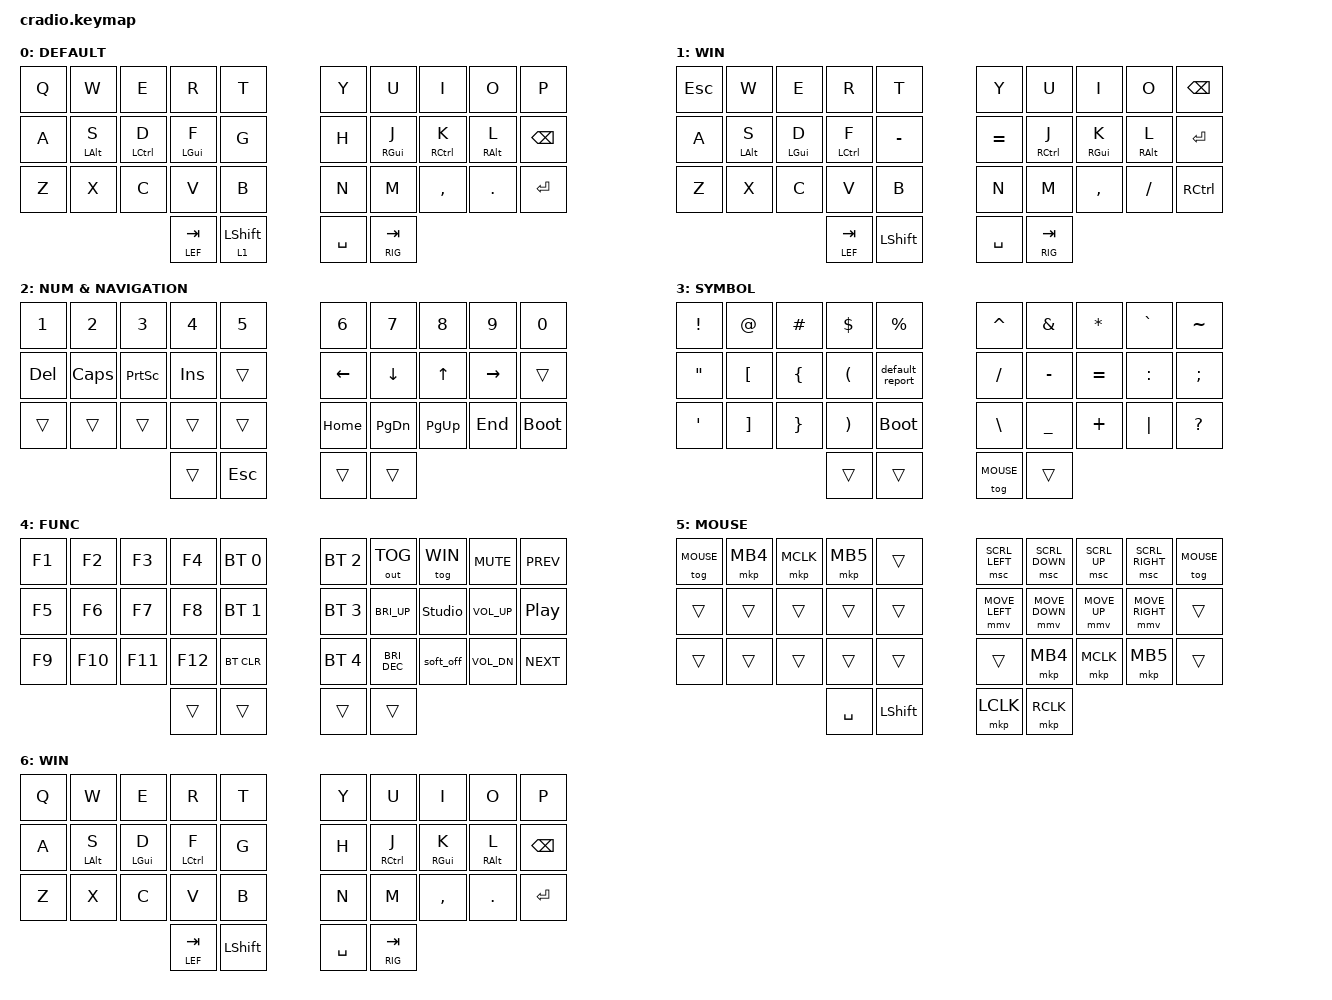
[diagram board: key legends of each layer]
// Copyright (c) 2022 The ZMK Contributors
// SPDX-License-Identifier: MIT

#define ZMK_POINTING_DEFAULT_MOVE_VAL 2500  // 600
#define ZMK_POINTING_DEFAULT_SCRL_VAL 20    // 10

#include "behaviors/character_map.dtsi"
#include "behaviors/send_string.dtsi"
#include "behaviors/report.dtsi"
#include <behaviors.dtsi>
#include <dt-bindings/zmk/bt.h>
#include <dt-bindings/zmk/keys.h>
#include <dt-bindings/zmk/outputs.h>
#include <dt-bindings/zmk/pointing.h>

#define MAC 0
#define WIN 1
#define RIG 2
#define LEF 3
#define TRI 4
#define MOUSE 5

// https://zmk.dev/docs/development/hardware-integration/soft-off-setup?advanced-methods=wakeup&kscan-type=dkscan

/ {
    keys {
        compatible = "gpio-keys";

        soft_off_gpio_key: soft_off_gpio_key { gpios = <&gpio1 6 (GPIO_ACTIVE_LOW | GPIO_PULL_UP)>; };
    };

    wakeup_scan: wakeup_scan {
        compatible = "zmk,kscan-gpio-direct";
        input-keys = <&soft_off_gpio_key>;
        wakeup-source;
    };

    side_band_behavior_triggers: side_band_behavior_triggers {
        compatible = "zmk,kscan-sideband-behaviors";
        kscan = <&wakeup_scan>;
        auto-enable;
        wakeup-source;
    };

    soft_off_wakers {
        compatible = "zmk,soft-off-wakeup-sources";
        wakeup-sources = <&wakeup_scan>;
    };
};

/ {
    chosen { zmk,charmap = &charmap_us; };

    behaviors {
        ht: hold_tap {
            display-name = "hold_tap";
            compatible = "zmk,behavior-hold-tap";
            #binding-cells = <2>;
            flavor = "balanced";
            tapping-term-ms = <200>;
            quick-tap-ms = <150>;
            bindings = <&kp>, <&kp>;
        };

        mmv {
            acceleration-exponent = <1>;      // 1
            time-to-max-speed-ms = <300>;    // 40
            delay-ms = <0>;                   // 0
        };

        msc {
            acceleration-exponent = <0>;      // 0
            time-to-max-speed-ms = <40>;      // 500
            delay-ms = <0>;                   // 10
        };
    };

    conditional_layers {
        compatible = "zmk,conditional-layers";

        tri_layer {
            if-layers = <RIG LEF>;
            then-layer = <TRI>;
        };
    };

    combos {
        compatible = "zmk,combos";

        desk {
            bindings = <&kp LG(D)>;
            key-positions = <11 12>;
        };

        open {
            bindings = <&kp LG(E)>;
            key-positions = <12 13>;
        };

        altf4 {
            bindings = <&kp LA(F4)>;
            key-positions = <13 14>;
        };

        ctrlN {
            bindings = <&kp LG(N)>;
            key-positions = <10 11>;
        };

        lock {
            bindings = <&kp LG(L)>;
            key-positions = <23 24>;
        };

        alt1 {
            bindings = <&kp LA(NUMBER_1)>;
            key-positions = <0 1>;
        };

        alt3 {
            bindings = <&kp RA(NUMBER_3)>;
            key-positions = <1 2>;
        };
    };

    keymap {
        compatible = "zmk,keymap";

        default_layer {
            display-name = "DEFAULT";
            bindings = <
&kp Q  &kp W       &kp E        &kp R        &kp T               &kp Y      &kp U        &kp I        &kp O       &kp P
&kp A  &ht LALT S  &ht LCTRL D  &ht LGUI F   &kp G               &kp H      &ht RGUI J   &ht RCTRL K  &ht RALT L  &kp BSPC
&kp Z  &kp X       &kp C        &kp V        &kp B               &kp N      &kp M        &kp COMMA    &kp DOT     &kp ENTER
                                &lt LEF TAB  &lt 1 LEFT_SHIFT    &kp SPACE  &lt RIG TAB
            >;
        };

        windows_layer {
            display-name = "WIN";
            bindings = <
&kp ESC  &kp W       &kp E       &kp R        &kp T         &kp Y      &kp U        &kp I       &kp O       &kp BSPC
&kp A    &ht LALT S  &ht LGUI D  &ht LCTRL F  &kp MINUS     &kp EQUAL  &ht RCTRL J  &ht RGUI K  &ht RALT L  &kp ENTER
&kp Z    &kp X       &kp C       &kp V        &kp B         &kp N      &kp M        &kp COMMA   &kp FSLH    &kp RCTRL
                                 &lt LEF TAB  &kp LSHIFT    &kp SPACE  &lt RIG TAB
            >;
        };

        right_layer {
            display-name = "NUM & NAVIGATION";
            bindings = <
&kp N1   &kp N2    &kp N3     &kp N4   &kp N5     &kp N6    &kp N7     &kp N8     &kp N9     &kp N0
&kp DEL  &kp CAPS  &kp PSCRN  &kp INS  &trans     &kp LEFT  &kp DOWN   &kp UP     &kp RIGHT  &trans
&trans   &trans    &trans     &trans   &trans     &kp HOME  &kp PG_DN  &kp PG_UP  &kp END    &bootloader
                              &trans   &kp ESC    &trans    &trans
            >;
        };

        left_layer {
            display-name = "SYMBOL";
            bindings = <
&kp EXCL  &kp AT    &kp HASH  &kp DLLR  &kp PRCNT          &kp CARET   &kp AMPS   &kp ASTRK  &kp GRAVE  &kp TILDE
&kp DQT   &kp LBKT  &kp LBRC  &kp LPAR  &default_report    &kp FSLH    &kp MINUS  &kp EQUAL  &kp COLON  &kp SEMI
&kp SQT   &kp RBKT  &kp RBRC  &kp RPAR  &bootloader        &kp BSLH    &kp UNDER  &kp PLUS   &kp PIPE   &kp QMARK
                              &trans    &trans             &tog MOUSE  &trans
            >;
        };

        tri_layer {
            display-name = "FUNC";
            bindings = <
&kp F1  &kp F2   &kp F3   &kp F4   &bt BT_SEL 0    &bt BT_SEL 2  &out OUT_TOG   &tog WIN        &kp C_MUTE    &kp C_PREV
&kp F5  &kp F6   &kp F7   &kp F8   &bt BT_SEL 1    &bt BT_SEL 3  &kp C_BRI_UP   &studio_unlock  &kp C_VOL_UP  &kp C_PP
&kp F9  &kp F10  &kp F11  &kp F12  &bt BT_CLR      &bt BT_SEL 4  &kp C_BRI_DEC  &soft_off       &kp C_VOL_DN  &kp C_NEXT
                          &trans   &trans          &trans        &trans
            >;
        };

        mouse {
            display-name = "MOUSE";
            bindings = <
&tog MOUSE  &mkp MB4  &mkp MCLK  &mkp MB5   &trans        &msc SCRL_LEFT  &msc SCRL_DOWN  &msc SCRL_UP  &msc SCRL_RIGHT  &tog MOUSE
&trans      &trans    &trans     &trans     &trans        &mmv MOVE_LEFT  &mmv MOVE_DOWN  &mmv MOVE_UP  &mmv MOVE_RIGHT  &trans
&trans      &trans    &trans     &trans     &trans        &trans          &mkp MB4        &mkp MCLK     &mkp MB5         &trans
                                 &kp SPACE  &kp LSHIFT    &mkp LCLK       &mkp RCLK
            >;
        };

        layer_6 {
            display-name = "WIN";
            bindings = <
&kp Q  &kp W       &kp E       &kp R        &kp T         &kp Y      &kp U        &kp I       &kp O       &kp P
&kp A  &ht LALT S  &ht LGUI D  &ht LCTRL F  &kp G         &kp H      &ht RCTRL J  &ht RGUI K  &ht RALT L  &kp BSPC
&kp Z  &kp X       &kp C       &kp V        &kp B         &kp N      &kp M        &kp COMMA   &kp DOT     &kp ENTER
                               &lt LEF TAB  &kp LSHIFT    &kp SPACE  &lt RIG TAB
            >;
        };
    };
};
